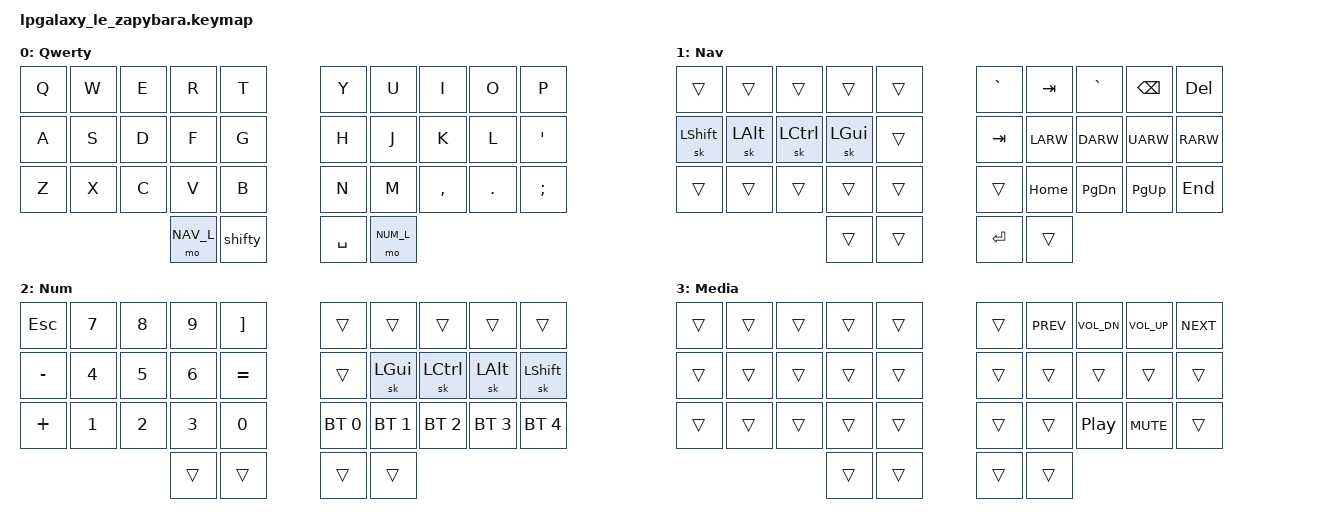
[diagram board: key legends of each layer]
 /*
 * Copyright (c) 2020 The ZMK Contributors
 *
 * SPDX-License-Identifier: MIT
 */

#include <behaviors.dtsi>
#include <dt-bindings/zmk/keys.h>
#include <dt-bindings/zmk/bt.h>
#include <dt-bindings/zmk/backlight.h>

#define NAV_L 1
#define NUM_L 2
#define MED_L 3
#define FUN_L 4

/ {
    tap_dances {
       shifty: shift_caps_word {
		compatible = "zmk,behavior-tap-dance";
		label = "TD_SHIFTY";
		#binding-cells = <0>;
		tapping-term-ms = <150>;
		bindings = <&kp LSHFT>, <&caps_word>;
	};
    };

    cond_layers {
        compatible = "zmk,conditional-layers";
	tri {
	    if-layers = <NUM_L NAV_L>;
	    then-layer = <MED_L>;
        };
    };
    combos {
        compatible = "zmk,combos";

	lgui_combo {
	    timeout-ms = <50>;
            key-positions = <13 16>;
            bindings = <&kp LGUI>;
	    layers = <MED_L>;
	};

	l_curly_bracket {
	    timeout-ms = <50>;
            key-positions = <1 11>;
            bindings = <&kp LS(LBKT)>;
	    layers = <NUM_L>;
	};

	r_curly_bracket {
	    timeout-ms = <50>;
            key-positions = <3 13>;
            bindings = <&kp LS(RBKT)>;
	    layers = <NUM_L>;
	};
	lbracket {
	    timeout-ms = <50>;
            key-positions = <11 21>;
            bindings = <&kp LBKT>;
	    layers = <NUM_L>;
	};

	rbracket {
	    timeout-ms = <50>;
            key-positions = <13 23>;
            bindings = <&kp RBKT>;
	    layers = <NUM_L>;
	};

	ques_mark_combo {
	    timeout-ms = <50>;
            key-positions = <18 28>;
            bindings = <&kp LS(FSLH)>;
	};

	bslash_combo {
	    timeout-ms = <50>;
            key-positions = <9 19>;
            bindings = <&kp BSLH>;
	};

	fslash_combo {
	    timeout-ms = <50>;
            key-positions = <19 29>;
            bindings = <&kp FSLH>;
	};

	bootloader_combo {
	    timeout-ms = <50>;
            key-positions = <4 5>;
            bindings = <&bootloader>;
	    layers = <MED_L>;
	};

    };


        keymap {
                compatible = "zmk,keymap";
#define QWERTY_BASE
#ifdef QWERTY_BASE
        qwerty_layer {
            label = "Qwerty";
            bindings = <
       &kp Q      &kp W      &kp E       &kp R          &kp T         &kp Y            &kp U          &kp I       &kp O      &kp P   
       &kp A      &kp S      &kp D       &kp F          &kp G         &kp H            &kp J          &kp K       &kp L      &kp QUOT
       &kp Z      &kp X      &kp C       &kp V          &kp B         &kp N            &kp M          &kp COMMA   &kp DOT    &kp SEMI
                                     &mo NAV_L      &shifty      &kp SPACE  &mo NUM_L
            >;
        };
#else
        colemak_dhm_layer {
            label = "Base";
            bindings = <
       &kp Q      &kp W      &kp F       &kp P          &kp B         &kp J            &kp L          &kp U       &kp Y      &kp QUOT
       &kp A      &kp R      &kp S       &kp T          &kp G         &kp M            &kp N          &kp E       &kp I      &kp O   
       &kp Z      &kp X      &kp C       &kp D          &kp V         &kp K            &kp H          &kp COMMA   &kp DOT    &kp SEMI     
                                         &mo NAV_L      &shifty      &kp SPACE        &mo NUM_L
            >;
        };
#endif

        nav_layer {
            label = "Nav";
            bindings = <
       &trans     &trans     &trans      &trans          &trans       &kp GRAVE        &kp TAB        &kp GRAVE   &kp BKSP   &kp DEL
       &sk LSHFT  &sk LALT   &sk LCTRL   &sk LGUI        &trans       &kp TAB          &kp LARW       &kp DARW    &kp UARW   &kp RARW
       &trans     &trans     &trans      &trans          &trans       &trans           &kp HOME       &kp PG_DN   &kp PG_UP  &kp END
                                    &trans          &trans       &kp RET          &trans
            >;
        };

        num_layer {
            label = "Num";
            bindings = <
       &kp ESC   &kp N7     &kp N8      &kp N9          &kp RBKT      &trans        &trans         &trans      &trans     &trans
       &kp MINUS  &kp N4     &kp N5      &kp N6          &kp EQUAL     &trans        &sk LGUI       &sk LCTRL      &sk LALT     &sk LSHFT
       &kp PLUS  &kp N1     &kp N2      &kp N3          &kp N0        &bt BT_SEL 0  &bt BT_SEL 1   &bt BT_SEL 2 &bt BT_SEL 3 &bt BT_SEL 4
                                    &trans          &trans        &trans        &trans
            >;
        };

        media_layer {
            label = "Media";
            bindings = <
       &trans	   &trans     &trans      &trans          &trans       &trans           &kp C_PREV     &kp C_VOL_DN     &kp C_VOL_UP &kp C_NEXT
       &trans     &trans     &trans      &trans          &trans       &trans           &trans         &trans           &trans       &trans
       &trans     &trans     &trans      &trans          &trans       &trans           &trans         &kp C_PLAY_PAUSE &kp C_MUTE       &trans
                                    &trans          &trans       &trans           &trans
            >;
        };


		/*
                default_layer {
// -------------------------------------------------------------------------------------
// |  TAB |  Q  |  W  |  E  |  R  |  T  |   |  Y  |  U   |  I  |  O  |  P  |   BKSP    |
// | CTRL |  A  |  S  |  D  |  F  |  G  |   |  H  |  J   |  K  |  L  |  ;  |    '      |
// | SHFT |  Z  |  X  |  C  |  V  |  B  |   |  N  |  M   |  ,  |  .  |  /  | SHFT(RET) |
//                         | ALT | LWR | SPC | RSE  | ALT |
            bindings = <
&bl BL_TOG &kp Q      &kp W      &kp F       &kp P          &kp B         &kp J            &kp L          &kp U       &kp Y      &kp QUOT &bootloader
&none &hm LGUI A &hm LALT R &hm LCTRL S &hm LSHFT T    &kp G         &kp M            &hm RSHFT N    &hm RCTRL E &hm LALT I &hm LGUI O &none
&none &kp Z      &kp X      &kp C       &kp D          &kp V         &kp K            &kp H          &kp COMMA   &kp DOT    &kp FSLH      &none
                                  &lt NAV_L TAB  &lt OTH_L RET &kp RET &lt NUM_L SPACE  &lt SYM_L BKSP
            >;
                };

        nav_layer {
            label = "Nav";
            bindings = <
&none                 &trans     &trans     &trans      &trans          &trans       &trans           &trans         &trans      &trans     &trans &none
&none                 &trans     &trans     &trans      &trans          &trans       &trans           &kp LARW       &kp DARW    &kp UARW   &kp RARW &none
&none                 &trans     &trans     &trans      &trans          &trans       &trans           &kp HOME       &kp PG_DN   &kp PG_UP  &kp END &none
                                                  &trans          &trans    &trans    &kp ESC          &kp DEL
            >;
        };

        other_layer {
            label = "Other";
            bindings = <
&none                 &trans	   &trans     &trans      &trans          &trans       &trans           &trans         &trans       &trans       &bt BT_CLR &none
&none                 &trans     &trans     &trans      &trans          &trans       &trans           &trans         &trans       &trans       &trans &none
&none                 &trans     &trans     &trans      &trans          &trans       &bt BT_SEL 0     &bt BT_SEL 1   &bt BT_SEL 2 &bt BT_SEL 3 &bt BT_SEL 4 &none
                                                  &trans          &trans   &trans     &trans           &trans
            >;
        };

        num_layer {
            label = "Num";
            bindings = <
&none                 &kp LBKT   &kp N7     &kp N8      &kp N9          &kp RBKT      &trans          &trans         &trans      &trans     &trans &none
&none                 &kp SEMI   &kp N4     &kp N5      &kp N6          &kp EQUAL     &trans          &trans         &trans      &trans     &trans &none
&none                 &kp GRAVE  &kp N1     &kp N2      &kp N3          &kp BSLH      &trans          &trans         &trans      &trans     &trans &none
                                                  &kp N0          &kp MINUS   &trans   &trans          &trans
            >;
        };

        sym_layer {
            label = "Sym";
            bindings = <
&none                 &kp LBRC     &kp LS(N7)  &kp LS(N8)  &kp LS(N9) &kp RBRC        &trans &trans   &trans    &trans    &trans &none
&none                 &kp COLON    &kp LS(N4)  &kp LS(N5)  &kp LS(N6) &kp PLUS        &trans &trans   &trans    &trans    &trans &none
&none                 &kp TILDE    &kp LS(N1)  &kp LS(N2)  &kp LS(N3) &kp LS(BSLH)    &trans &trans   &trans    &trans    &trans &none
                                                   &kp LS(N0) &kp UNDER      &trans    &trans &trans
            >;
        };
	*/

        };
};
